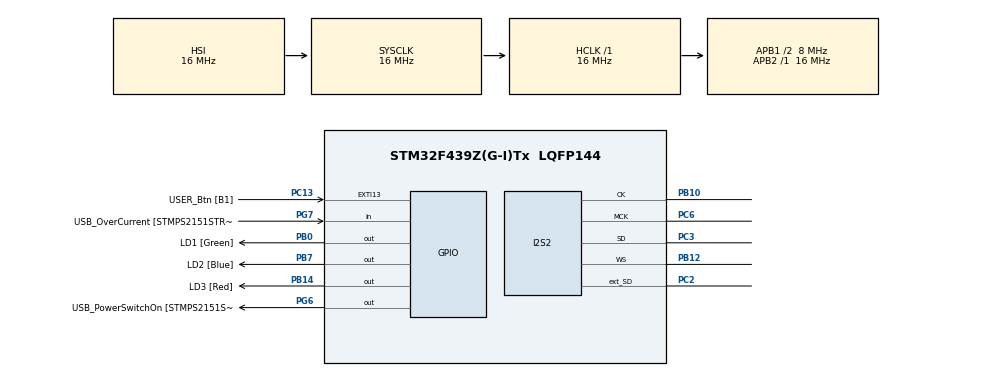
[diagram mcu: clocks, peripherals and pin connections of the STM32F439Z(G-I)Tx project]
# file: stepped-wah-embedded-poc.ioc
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Dma.I2S2_EXT_RX.0.Direction=DMA_PERIPH_TO_MEMORY
Dma.I2S2_EXT_RX.0.FIFOMode=DMA_FIFOMODE_DISABLE
Dma.I2S2_EXT_RX.0.Instance=DMA1_Stream3
Dma.I2S2_EXT_RX.0.MemDataAlignment=DMA_MDATAALIGN_HALFWORD
Dma.I2S2_EXT_RX.0.MemInc=DMA_MINC_ENABLE
Dma.I2S2_EXT_RX.0.Mode=DMA_CIRCULAR
Dma.I2S2_EXT_RX.0.PeriphDataAlignment=DMA_PDATAALIGN_HALFWORD
Dma.I2S2_EXT_RX.0.PeriphInc=DMA_PINC_DISABLE
Dma.I2S2_EXT_RX.0.Priority=DMA_PRIORITY_LOW
Dma.Request0=I2S2_EXT_RX
Dma.Request1=SPI2_TX
Dma.SPI2_TX.1.Direction=DMA_MEMORY_TO_PERIPH
Dma.SPI2_TX.1.FIFOMode=DMA_FIFOMODE_DISABLE
Dma.SPI2_TX.1.Instance=DMA1_Stream4
Dma.SPI2_TX.1.MemDataAlignment=DMA_MDATAALIGN_HALFWORD
Dma.SPI2_TX.1.MemInc=DMA_MINC_ENABLE
Dma.SPI2_TX.1.Mode=DMA_CIRCULAR
Dma.SPI2_TX.1.PeriphDataAlignment=DMA_PDATAALIGN_HALFWORD
Dma.SPI2_TX.1.PeriphInc=DMA_PINC_DISABLE
Dma.SPI2_TX.1.Priority=DMA_PRIORITY_LOW
I2S2.AudioFreq=I2S_AUDIOFREQ_48K
I2S2.DataFormat=I2S_DATAFORMAT_24B
I2S2.ErrorAudioFreq=-2.34 %
I2S2.FullDuplexMode=I2S_FULLDUPLEXMODE_ENABLE
I2S2.Instance=SPI$Index
I2S2.RealAudioFreq=46.875 KHz
I2S2.VirtualMode=I2S_MODE_MASTER
Mcu.Family=STM32F4
Mcu.Name=STM32F439Z(G-I)Tx
Mcu.Package=LQFP144
NVIC.DMA1_Stream3_IRQn=true\:0\:0\:false\:false\:true\:false\:true\:true
NVIC.DMA1_Stream4_IRQn=true\:0\:0\:false\:false\:true\:false\:true\:true
NVIC.PriorityGroup=NVIC_PRIORITYGROUP_4
PA1.GPIO_Label=RMII_REF_CLK [LAN8742A-CZ-TR_REFCLK0]
PA1.Signal=ETH_REF_CLK
PA10.GPIO_Label=USB_ID
PA10.Signal=USB_OTG_FS_ID
PA11.GPIO_Label=USB_DM
PA11.Signal=USB_OTG_FS_DM
PA12.GPIO_Label=USB_DP
PA12.Signal=USB_OTG_FS_DP
PA13.GPIO_Label=TMS
PA13.Signal=SYS_JTMS-SWDIO
PA14.GPIO_Label=TCK
PA14.Signal=SYS_JTCK-SWCLK
PA2.GPIO_Label=RMII_MDIO [LAN8742A-CZ-TR_MDIO]
PA2.Signal=ETH_MDIO
PA7.GPIO_Label=RMII_CRS_DV [LAN8742A-CZ-TR_CRS_DV]
PA7.Signal=ETH_CRS_DV
PA8.GPIO_Label=USB_SOF [TP1]
PA8.Signal=USB_OTG_FS_SOF
PA9.GPIO_Label=USB_VBUS
PA9.Signal=USB_OTG_FS_VBUS
PB0.GPIO_Label=LD1 [Green]
PB0.Signal=GPIO_Output
PB10.Mode=Full_Duplex_Master
PB10.Signal=I2S2_CK
PB12.Mode=Full_Duplex_Master
PB12.Signal=I2S2_WS
PB13.GPIO_Label=RMII_TXD1 [LAN8742A-CZ-TR_TXD1]
PB13.Signal=ETH_TXD1
PB14.GPIO_Label=LD3 [Red]
PB14.Signal=GPIO_Output
PB7.GPIO_Label=LD2 [Blue]
PB7.Signal=GPIO_Output
PC1.GPIO_Label=RMII_MDC [LAN8742A-CZ-TR_MDC]
PC1.Signal=ETH_MDC
PC13.GPIO_Label=USER_Btn [B1]
PC13.Signal=GPXTI13
PC14/OSC32_IN.Signal=RCC_OSC32_IN
PC15/OSC32_OUT.Signal=RCC_OSC32_OUT
PC2.Mode=Full_Duplex_Master
PC2.Signal=I2S2_ext_SD
PC3.Mode=Full_Duplex_Master
PC3.Signal=I2S2_SD
PC4.GPIO_Label=RMII_RXD0 [LAN8742A-CZ-TR_RXD0]
PC4.Signal=ETH_RXD0
PC5.GPIO_Label=RMII_RXD1 [LAN8742A-CZ-TR_RXD1]
PC5.Signal=ETH_RXD1
PC6.Mode=Master_Clock_Activated
PC6.Signal=I2S2_MCK
PD8.GPIO_Label=STLK_RX [STM32F103CBT6_PA3]
PD8.Signal=USART3_TX
PD9.GPIO_Label=STLK_TX [STM32F103CBT6_PA2]
PD9.Signal=USART3_RX
PG11.GPIO_Label=RMII_TX_EN [LAN8742A-CZ-TR_TXEN]
PG11.Signal=ETH_TX_EN
PG13.GPIO_Label=RMII_TXD0 [LAN8742A-CZ-TR_TXD0]
PG13.Signal=ETH_TXD0
PG6.GPIO_Label=USB_PowerSwitchOn [STMPS2151STR_EN]
PG6.Signal=GPIO_Output
PG7.GPIO_Label=USB_OverCurrent [STMPS2151STR_FAULT]
PG7.Signal=GPIO_Input
PH0/OSC_IN.GPIO_Label=MCO [STM32F103CBT6_PA8]
PH0/OSC_IN.Signal=RCC_OSC_IN
PH1/OSC_OUT.Signal=RCC_OSC_OUT
ProjectManager.HeapSize=0x200
ProjectManager.StackSize=0x400
ProjectManager.TargetToolchain=STM32CubeIDE
RCC.48MHZClocksFreq_Value=48000000
RCC.AHBFreq_Value=16000000
RCC.APB1CLKDivider=RCC_HCLK_DIV2
RCC.APB1Freq_Value=8000000
RCC.APB1TimFreq_Value=16000000
RCC.APB2Freq_Value=16000000
RCC.APB2TimFreq_Value=16000000
RCC.CortexFreq_Value=16000000
RCC.HCLKFreq_Value=16000000
RCC.HSE_VALUE=8000000
RCC.HSI_VALUE=16000000
RCC.LSE_VALUE=32768
RCC.PLLMUL=RCC_PLL_MUL9
RCC.PRESCALERUSB=RCC_USBCLKSOURCE_PLL_DIV1_5
RCC.SYSCLKFreq_VALUE=16000000
RCC.SYSCLKSourceVirtual=RCC_SYSCLKSOURCE_PLLCLK
RCC.USBFreq_Value=48000000
RCC.VCOOutputFreq_Value=192000000
board=NUCLEO-F439ZI

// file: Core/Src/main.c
/* USER CODE BEGIN Header */
/**
 ******************************************************************************
 * @file           : main.c
 * @brief          : Main program body
 ******************************************************************************
 * @attention
 *
 * Copyright (c) 2024 STMicroelectronics.
 * All rights reserved.
 *
 * This software is licensed under terms that can be found in the LICENSE file
 * in the root directory of this software component.
 * If no LICENSE file comes with this software, it is provided AS-IS.
 *
 ******************************************************************************
 */
/* USER CODE END Header */
#include "main.h"

/* USER CODE BEGIN PTD */

typedef struct filter
{
  int f_c;
  float a0;
  float a1;
  float a2;
  float b0;
  float b1;
  float b2;
  float in_z1;
  float in_z2;
  float out_z1;
  float out_z2;
} filter_t;

/* USER CODE END PTD */

/* USER CODE BEGIN PM */

#define NUM_BANDS 5

/* USER CODE END PM */

I2S_HandleTypeDef hi2s2;
DMA_HandleTypeDef hdma_i2s2_ext_rx;
DMA_HandleTypeDef hdma_spi2_tx;

/* USER CODE BEGIN PV */

uint16_t rxBuf[8];
uint16_t txBuf[8];

const filter_t filter_band = {
    .f_c = 1000.0f,
    .a0 = 0.0039160766836994505f,
    .a1 = 0.007832153367398901f,
    .a2 = 0.0039160766836994505f,
    .b0 = 1.0f,
    .b1 = -1.8153179156742152f,
    .b2 = 0.8309822224090128f,
    .in_z1 = 0.0f,
    .in_z2 = 0.0f,
    .out_z1 = 0.0f,
    .out_z2 = 0.0f};

/* USER CODE END PV */

void SystemClock_Config(void);
static void MX_GPIO_Init(void);
static void MX_DMA_Init(void);
static void MX_I2S2_Init(void);

int calc_iir(int inSample, filter_t filter);

int main(void)
{

  /* MCU Configuration--------------------------------------------------------*/

  /* Reset of all peripherals, Initializes the Flash interface and the Systick. */
  HAL_Init();

  /* Configure the system clock */
  SystemClock_Config();

  /* Initialize all configured peripherals */
  MX_GPIO_Init();
  MX_DMA_Init();
  MX_I2S2_Init();
  /* USER CODE BEGIN 2 */

  HAL_I2SEx_TransmitReceive_DMA(&hi2s2, txBuf, rxBuf, 4);

  /* USER CODE END 2 */

  /* Infinite loop */
  while (1)
  {

  }
}

void SystemClock_Config(void)
{
  RCC_OscInitTypeDef RCC_OscInitStruct = {0};
  RCC_ClkInitTypeDef RCC_ClkInitStruct = {0};

  /** Macro to configure the PLL multiplication factor
   */
  __HAL_RCC_PLL_PLLM_CONFIG(16);

  /** Macro to configure the PLL clock source
   */
  __HAL_RCC_PLL_PLLSOURCE_CONFIG(RCC_PLLSOURCE_HSI);

  /** Configure the main internal regulator output voltage
   */
  __HAL_RCC_PWR_CLK_ENABLE();
  __HAL_PWR_VOLTAGESCALING_CONFIG(PWR_REGULATOR_VOLTAGE_SCALE3);

  /** Initializes the RCC Oscillators according to the specified parameters
   * in the RCC_OscInitTypeDef structure.
   */
  RCC_OscInitStruct.OscillatorType = RCC_OSCILLATORTYPE_HSI;
  RCC_OscInitStruct.HSIState = RCC_HSI_ON;
  RCC_OscInitStruct.HSICalibrationValue = RCC_HSICALIBRATION_DEFAULT;
  RCC_OscInitStruct.PLL.PLLState = RCC_PLL_NONE;
  RCC_OscInitStruct.PLL.PLLSource = RCC_PLLSOURCE_HSI;
  if (HAL_RCC_OscConfig(&RCC_OscInitStruct) != HAL_OK)
  {
    Error_Handler();
  }

  /** Initializes the CPU, AHB and APB buses clocks
   */
  RCC_ClkInitStruct.ClockType = RCC_CLOCKTYPE_HCLK | RCC_CLOCKTYPE_SYSCLK | RCC_CLOCKTYPE_PCLK1 | RCC_CLOCKTYPE_PCLK2;
  RCC_ClkInitStruct.SYSCLKSource = RCC_SYSCLKSOURCE_HSI;
  RCC_ClkInitStruct.AHBCLKDivider = RCC_SYSCLK_DIV1;
  RCC_ClkInitStruct.APB1CLKDivider = RCC_HCLK_DIV2;
  RCC_ClkInitStruct.APB2CLKDivider = RCC_HCLK_DIV1;

  if (HAL_RCC_ClockConfig(&RCC_ClkInitStruct, FLASH_LATENCY_0) != HAL_OK)
  {
    Error_Handler();
  }
}

static void MX_I2S2_Init(void)
{

  hi2s2.Instance = SPI2;
  hi2s2.Init.Mode = I2S_MODE_MASTER_TX;
  hi2s2.Init.Standard = I2S_STANDARD_PHILIPS;
  hi2s2.Init.DataFormat = I2S_DATAFORMAT_24B;
  hi2s2.Init.MCLKOutput = I2S_MCLKOUTPUT_ENABLE;
  hi2s2.Init.AudioFreq = I2S_AUDIOFREQ_48K;
  hi2s2.Init.CPOL = I2S_CPOL_LOW;
  hi2s2.Init.ClockSource = I2S_CLOCK_PLL;
  hi2s2.Init.FullDuplexMode = I2S_FULLDUPLEXMODE_ENABLE;
  if (HAL_I2S_Init(&hi2s2) != HAL_OK)
  {
    Error_Handler();
  }
}

static void MX_DMA_Init(void)
{

  /* DMA controller clock enable */
  __HAL_RCC_DMA1_CLK_ENABLE();

  /* DMA interrupt init */
  /* DMA1_Stream3_IRQn interrupt configuration */
  HAL_NVIC_SetPriority(DMA1_Stream3_IRQn, 0, 0);
  HAL_NVIC_EnableIRQ(DMA1_Stream3_IRQn);
  /* DMA1_Stream4_IRQn interrupt configuration */
  HAL_NVIC_SetPriority(DMA1_Stream4_IRQn, 0, 0);
  HAL_NVIC_EnableIRQ(DMA1_Stream4_IRQn);
}

static void MX_GPIO_Init(void)
{
  GPIO_InitTypeDef GPIO_InitStruct = {0};

  /* GPIO Ports Clock Enable */
  __HAL_RCC_GPIOC_CLK_ENABLE();
  __HAL_RCC_GPIOH_CLK_ENABLE();
  __HAL_RCC_GPIOA_CLK_ENABLE();
  __HAL_RCC_GPIOB_CLK_ENABLE();
  __HAL_RCC_GPIOD_CLK_ENABLE();
  __HAL_RCC_GPIOG_CLK_ENABLE();

  /*Configure GPIO pin Output Level */
  HAL_GPIO_WritePin(GPIOB, LD1_Pin | LD3_Pin | LD2_Pin, GPIO_PIN_RESET);

  /*Configure GPIO pin Output Level */
  HAL_GPIO_WritePin(USB_PowerSwitchOn_GPIO_Port, USB_PowerSwitchOn_Pin, GPIO_PIN_RESET);

  /*Configure GPIO pin : USER_Btn_Pin */
  GPIO_InitStruct.Pin = USER_Btn_Pin;
  GPIO_InitStruct.Mode = GPIO_MODE_IT_RISING;
  GPIO_InitStruct.Pull = GPIO_NOPULL;
  HAL_GPIO_Init(USER_Btn_GPIO_Port, &GPIO_InitStruct);

  /*Configure GPIO pins : RMII_MDC_Pin RMII_RXD0_Pin RMII_RXD1_Pin */
  GPIO_InitStruct.Pin = RMII_MDC_Pin | RMII_RXD0_Pin | RMII_RXD1_Pin;
  GPIO_InitStruct.Mode = GPIO_MODE_AF_PP;
  GPIO_InitStruct.Pull = GPIO_NOPULL;
  GPIO_InitStruct.Speed = GPIO_SPEED_FREQ_VERY_HIGH;
  GPIO_InitStruct.Alternate = GPIO_AF11_ETH;
  HAL_GPIO_Init(GPIOC, &GPIO_InitStruct);

  /*Configure GPIO pins : RMII_REF_CLK_Pin RMII_MDIO_Pin RMII_CRS_DV_Pin */
  GPIO_InitStruct.Pin = RMII_REF_CLK_Pin | RMII_MDIO_Pin | RMII_CRS_DV_Pin;
  GPIO_InitStruct.Mode = GPIO_MODE_AF_PP;
  GPIO_InitStruct.Pull = GPIO_NOPULL;
  GPIO_InitStruct.Speed = GPIO_SPEED_FREQ_VERY_HIGH;
  GPIO_InitStruct.Alternate = GPIO_AF11_ETH;
  HAL_GPIO_Init(GPIOA, &GPIO_InitStruct);

  /*Configure GPIO pins : LD1_Pin LD3_Pin LD2_Pin */
  GPIO_InitStruct.Pin = LD1_Pin | LD3_Pin | LD2_Pin;
  GPIO_InitStruct.Mode = GPIO_MODE_OUTPUT_PP;
  GPIO_InitStruct.Pull = GPIO_NOPULL;
  GPIO_InitStruct.Speed = GPIO_SPEED_FREQ_LOW;
  HAL_GPIO_Init(GPIOB, &GPIO_InitStruct);

  /*Configure GPIO pin : RMII_TXD1_Pin */
  GPIO_InitStruct.Pin = RMII_TXD1_Pin;
  GPIO_InitStruct.Mode = GPIO_MODE_AF_PP;
  GPIO_InitStruct.Pull = GPIO_NOPULL;
  GPIO_InitStruct.Speed = GPIO_SPEED_FREQ_VERY_HIGH;
  GPIO_InitStruct.Alternate = GPIO_AF11_ETH;
  HAL_GPIO_Init(RMII_TXD1_GPIO_Port, &GPIO_InitStruct);

  /*Configure GPIO pins : STLK_RX_Pin STLK_TX_Pin */
  GPIO_InitStruct.Pin = STLK_RX_Pin | STLK_TX_Pin;
  GPIO_InitStruct.Mode = GPIO_MODE_AF_PP;
  GPIO_InitStruct.Pull = GPIO_NOPULL;
  GPIO_InitStruct.Speed = GPIO_SPEED_FREQ_VERY_HIGH;
  GPIO_InitStruct.Alternate = GPIO_AF7_USART3;
  HAL_GPIO_Init(GPIOD, &GPIO_InitStruct);

  /*Configure GPIO pin : USB_PowerSwitchOn_Pin */
  GPIO_InitStruct.Pin = USB_PowerSwitchOn_Pin;
  GPIO_InitStruct.Mode = GPIO_MODE_OUTPUT_PP;
  GPIO_InitStruct.Pull = GPIO_NOPULL;
  GPIO_InitStruct.Speed = GPIO_SPEED_FREQ_LOW;
  HAL_GPIO_Init(USB_PowerSwitchOn_GPIO_Port, &GPIO_InitStruct);

  /*Configure GPIO pin : USB_OverCurrent_Pin */
  GPIO_InitStruct.Pin = USB_OverCurrent_Pin;
  GPIO_InitStruct.Mode = GPIO_MODE_INPUT;
  GPIO_InitStruct.Pull = GPIO_NOPULL;
  HAL_GPIO_Init(USB_OverCurrent_GPIO_Port, &GPIO_InitStruct);

  /*Configure GPIO pins : USB_SOF_Pin USB_ID_Pin USB_DM_Pin USB_DP_Pin */
  GPIO_InitStruct.Pin = USB_SOF_Pin | USB_ID_Pin | USB_DM_Pin | USB_DP_Pin;
  GPIO_InitStruct.Mode = GPIO_MODE_AF_PP;
  GPIO_InitStruct.Pull = GPIO_NOPULL;
  GPIO_InitStruct.Speed = GPIO_SPEED_FREQ_VERY_HIGH;
  GPIO_InitStruct.Alternate = GPIO_AF10_OTG_FS;
  HAL_GPIO_Init(GPIOA, &GPIO_InitStruct);

  /*Configure GPIO pin : USB_VBUS_Pin */
  GPIO_InitStruct.Pin = USB_VBUS_Pin;
  GPIO_InitStruct.Mode = GPIO_MODE_INPUT;
  GPIO_InitStruct.Pull = GPIO_NOPULL;
  HAL_GPIO_Init(USB_VBUS_GPIO_Port, &GPIO_InitStruct);

  /*Configure GPIO pins : RMII_TX_EN_Pin RMII_TXD0_Pin */
  GPIO_InitStruct.Pin = RMII_TX_EN_Pin | RMII_TXD0_Pin;
  GPIO_InitStruct.Mode = GPIO_MODE_AF_PP;
  GPIO_InitStruct.Pull = GPIO_NOPULL;
  GPIO_InitStruct.Speed = GPIO_SPEED_FREQ_VERY_HIGH;
  GPIO_InitStruct.Alternate = GPIO_AF11_ETH;
  HAL_GPIO_Init(GPIOG, &GPIO_InitStruct);
}

/* USER CODE BEGIN 4 */

void HAL_I2SEx_TxRxHalfCpltCallback(I2S_HandleTypeDef *hi2s)
{

  // restore signed 24 bit sample from 16-bit buffers
  int lSample = (int)(rxBuf[0] << 16) | rxBuf[1];
  int rSample = (int)(rxBuf[2] << 16) | rxBuf[3];

  lSample = 40 * calc_iir(lSample, filter_band);

  // restore to buffer
  txBuf[0] = (lSample >> 16) & 0xFFFF;
  txBuf[1] = lSample & 0xFFFF;
  txBuf[2] = (lSample >> 16) & 0xFFFF;
  txBuf[3] = lSample & 0xFFFF;
}

void HAL_I2SEx_TxRxCpltCallback(I2S_HandleTypeDef *hi2s)
{

  // restore signed 24 bit sample from 16-bit buffers
  int lSample = (int)(rxBuf[4] << 16) | rxBuf[5];
  int rSample = (int)(rxBuf[6] << 16) | rxBuf[7];

  lSample = 40 * calc_iir(lSample, filter_band);

  // restore to buffer
  txBuf[4] = (lSample >> 16) & 0xFFFF;
  txBuf[5] = lSample & 0xFFFF;
  txBuf[6] = (lSample >> 16) & 0xFFFF;
  txBuf[7] = lSample & 0xFFFF;
}

int calc_iir(int inSample, filter_t filter)
{
  float inSampleF = (float)inSample;
  float outSampleF = filter.a0 * inSampleF +
                     filter.a1 * filter.in_z1 +
                     filter.a2 * filter.in_z2 -
                     filter.b1 * filter.out_z1 -
                     filter.b2 * filter.out_z2;
  filter.in_z2 = filter.in_z1;
  filter.in_z1 = inSampleF;
  filter.out_z2 = filter.out_z1;
  filter.out_z1 = outSampleF;

  return (int)outSampleF;
}

/* USER CODE END 4 */

void Error_Handler(void)
{
  __disable_irq();
  while (1)
  {
  }
}
